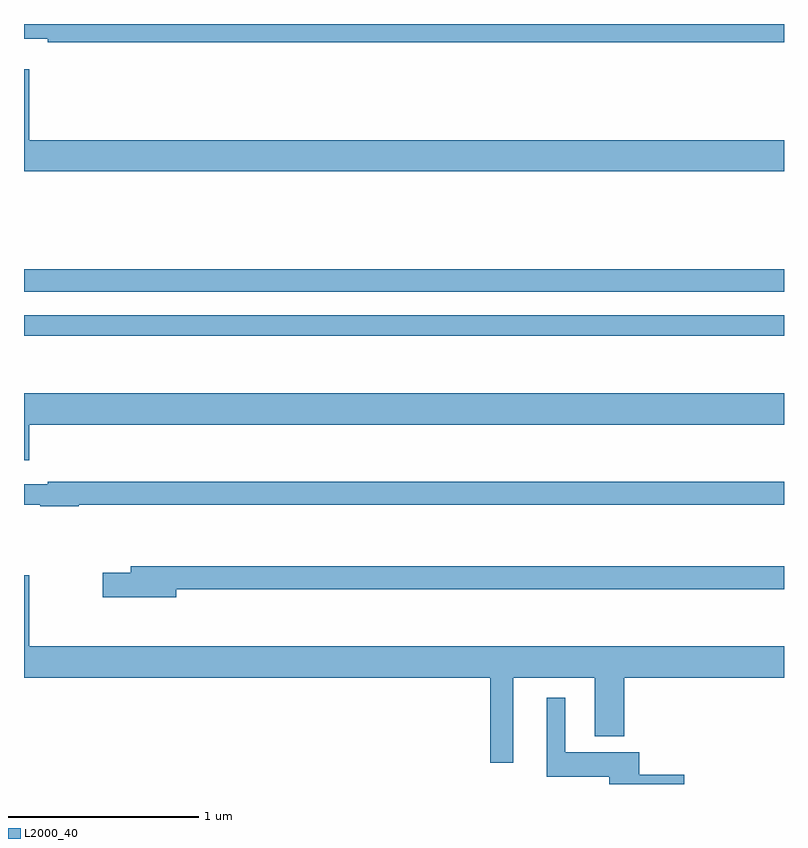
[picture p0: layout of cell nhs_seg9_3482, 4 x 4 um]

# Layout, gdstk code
import gdstk
lib = gdstk.Library(unit=1e-6, precision=1e-09)
def R(c, l, rs):  # rectangles x0, y0, x1, y1
    for r in rs: c.add(gdstk.rectangle(r[:2], r[2:], *l))
def P(c, l, *ps):  # polygons
    for p in ps: c.add(gdstk.Polygon(p, *l))
L2000_40 = (2000, 40)

nhs_seg9_3482 = lib.new_cell('nhs_seg9_3482')
R(nhs_seg9_3482, L2000_40, [(309,1224.858,313,1224.966), (309,1225.092,313,1225.208)])
P(nhs_seg9_3482, L2000_40, [(313,1226.5),(309,1226.5),(309,1226.423),(309.124,1226.423),(309.124,1226.404),(313,1226.404)],
  [(313,1225.888),(309.028,1225.888),(309.028,1226.263),(309,1226.263),(309,1225.724),(313,1225.724)],
  [(309.028,1224.392),(313,1224.392),(313,1224.556),(309,1224.556),(309,1224.204),(309.028,1224.204)],
  [(309.289,1223.97),(313,1223.97),(313,1224.091),(309.124,1224.091),(309.124,1224.078),(309,1224.078),(309,1223.97),(309.086,1223.97),(309.086,1223.962),(309.289,1223.962)],
  [(309.802,1223.526),(313,1223.526),(313,1223.647),(309.563,1223.647),(309.563,1223.613),(309.414,1223.613),(309.414,1223.483),(309.802,1223.483)],
  [(311.575,1223.06),(312.005,1223.06),(312.005,1222.751),(312.158,1222.751),(312.158,1223.06),(313,1223.06),(313,1223.224),(309.028,1223.224),(309.028,1223.599),(309,1223.599),(309,1223.06),(311.454,1223.06),(311.454,1222.611),(311.575,1222.611)],
  [(312.475,1222.55),(312.239,1222.55),(312.239,1222.666),(311.848,1222.666),(311.848,1222.954),(311.75,1222.954),(311.75,1222.538),(312.08,1222.538),(312.08,1222.5),(312.475,1222.5)])

lib.write_gds('nhs_seg9_3482.gds')
